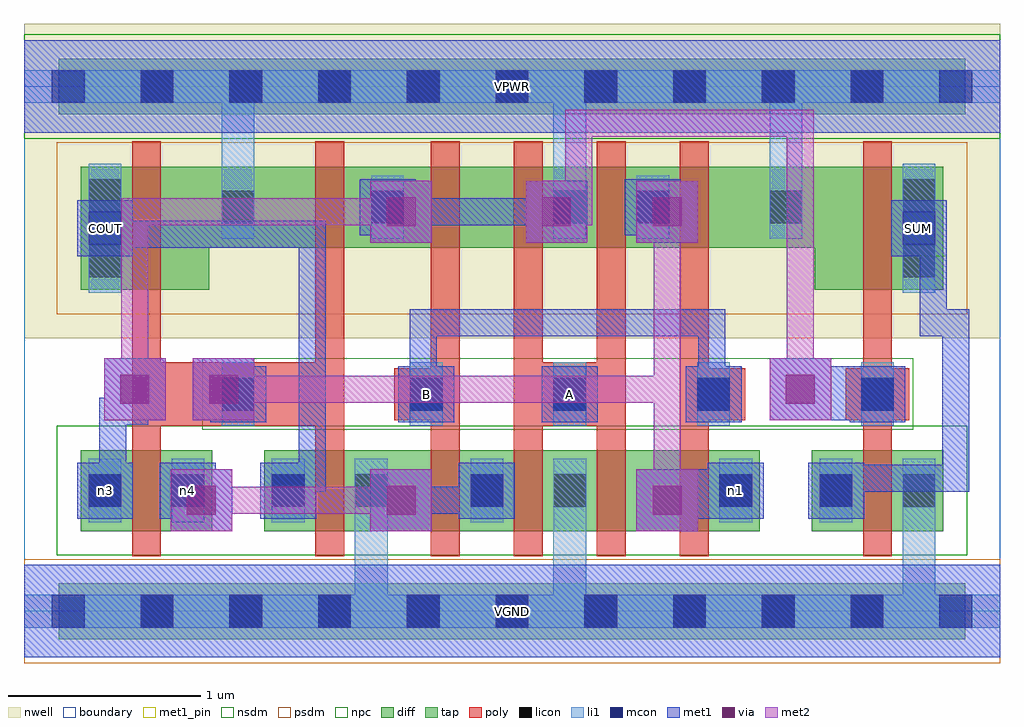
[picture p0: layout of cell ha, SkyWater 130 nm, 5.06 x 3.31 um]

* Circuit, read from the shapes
.subckt ha A B COUT SUM VGND VPWR n1 n3 n4
XM1 n4 n1 n3 VGND sky130_fd_pr__nfet_01v8 w=0.42 l=0.15
XM2 VGND n1 COUT VGND sky130_fd_pr__nfet_01v8 w=0.42 l=0.15
XM3 n4 B VGND VGND sky130_fd_pr__nfet_01v8 w=0.42 l=0.15
XM4 VGND A n4 VGND sky130_fd_pr__nfet_01v8 w=0.42 l=0.15
XM5 n2 A VGND VGND sky130_fd_pr__nfet_01v8 w=0.42 l=0.15
XM6 n1 B n2 VGND sky130_fd_pr__nfet_01v8 w=0.42 l=0.15
XM7 VGND n3 SUM VGND sky130_fd_pr__nfet_01v8 w=0.42 l=0.15
XM8 VPWR n1 COUT VPWR sky130_fd_pr__pfet_01v8 w=0.64 l=0.15
XM9 n3 n1 VPWR VPWR sky130_fd_pr__pfet_01v8 w=0.42 l=0.15
XM10 n5 B n3 VPWR sky130_fd_pr__pfet_01v8 w=0.42 l=0.15
XM11 VPWR A n5 VPWR sky130_fd_pr__pfet_01v8 w=0.42 l=0.15
XM12 n1 A VPWR VPWR sky130_fd_pr__pfet_01v8 w=0.42 l=0.15
XM13 VPWR B n1 VPWR sky130_fd_pr__pfet_01v8 w=0.42 l=0.15
XM14 SUM n3 VPWR VPWR sky130_fd_pr__pfet_01v8 w=0.64 l=0.15
.ends

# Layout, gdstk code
import gdstk
lib = gdstk.Library(unit=1e-6, precision=1e-09)
def R(c, l, rs):  # rectangles x0, y0, x1, y1
    for r in rs: c.add(gdstk.rectangle(r[:2], r[2:], *l))
def A(c, l, x, y, w, h, nx, ny, dx, dy):  # array of equal rectangles
    R(c, l, [(x+i*dx, y+j*dy, x+i*dx+w, y+j*dy+h) for i in range(nx) for j in range(ny)])
nwell = (64, 20)
diff = (65, 20)
tap = (65, 44)
poly = (66, 20)
licon = (66, 44)
li1 = (67, 20)
mcon = (67, 44)
met1_pin = (68, 16)
met1 = (68, 20)
via = (68, 44)
met2 = (69, 20)
nsdm = (93, 44)
psdm = (94, 20)
npc = (95, 20)
boundary = (235, 4)

c_ha = lib.new_cell('ha')
R(c_ha, nwell, [(0,1.415,5.06,3.045)])
R(c_ha, diff, [(0.295,0.415,0.975,0.835), (1.245,0.415,3.815,0.835), (1.245,0.415,1.96,0.835), (4.085,0.415,4.765,0.835), (0.295,1.665,0.96,2.305), (4.1,1.665,4.765,2.305), (0.295,1.885,4.765,2.305)])
R(c_ha, tap, [(0.18,-0.145,4.88,0.145), (0.18,2.575,4.88,2.865)])
A(c_ha, poly, 2.11, 0.285, 0.15, 2.15, 4, 1, 0.43, 0)
R(c_ha, poly, [(0.56,0.285,0.71,2.435), (1.51,0.285,1.66,2.435), (4.35,0.285,4.5,2.435), (0.56,0.96,1.66,1.29), (2.54,0.96,3.12,1.29), (1.92,0.99,2.25,1.26), (3.41,0.99,3.74,1.26), (4.26,0.99,4.59,1.26)])
A(c_ha, licon, 0.605, -0.085, 0.17, 0.17, 9, 2, 0.46, 2.72)
A(c_ha, licon, 2, 1.04, 0.17, 0.17, 3, 1, 0.745, 0)
R(c_ha, licon, [(0.335,0.54,0.505,0.71), (0.765,0.54,0.935,0.71), (1.285,0.54,1.455,0.71), (1.715,0.54,1.885,0.71), (2.315,0.54,2.485,0.71), (2.745,0.54,2.915,0.71), (3.605,0.54,3.775,0.71), (4.125,0.54,4.295,0.71), (4.555,0.54,4.725,0.71), (1.025,1.04,1.195,1.21), (4.34,1.04,4.51,1.21), (0.335,1.73,0.505,1.9), (4.555,1.73,4.725,1.9), (1.025,2.01,1.195,2.18), (1.8,2.01,1.97,2.18), (2.745,2.01,2.915,2.18), (3.175,2.01,3.345,2.18), (3.865,2.01,4.035,2.18), (0.335,2.07,0.505,2.24), (4.555,2.07,4.725,2.24)])
A(c_ha, li1, 2, 0.96, 0.17, 0.33, 3, 1, 0.745, 0)
R(c_ha, li1, [(0,-0.085,5.06,0.085), (1.715,-0.085,1.885,0.79), (2.745,-0.085,2.915,0.79), (4.555,-0.085,4.725,0.79), (0.335,0.46,0.505,0.79), (0.765,0.46,0.935,0.79), (1.285,0.46,1.455,0.79), (1.715,0.46,1.885,0.79), (2.315,0.46,2.485,0.79), (2.745,0.46,2.915,0.79), (3.605,0.46,3.775,0.79), (4.125,0.46,4.295,0.79), (4.555,0.46,4.725,0.79), (1.025,0.96,1.195,1.29), (4.34,0.96,4.51,1.29), (0.335,1.65,0.505,2.32), (4.555,1.65,4.725,2.32), (1.025,1.93,1.195,2.26), (1.025,1.93,1.195,2.805), (1.8,1.93,1.97,2.26), (2.745,1.93,2.915,2.26), (2.745,1.93,2.915,2.805), (3.175,1.93,3.345,2.26), (3.865,1.93,4.035,2.26), (3.865,1.93,4.035,2.805), (0,2.635,5.06,2.805)])
A(c_ha, mcon, 0.145, -0.085, 0.17, 0.17, 11, 2, 0.46, 2.72)
A(c_ha, mcon, 2, 1.04, 0.17, 0.17, 3, 1, 0.745, 0)
R(c_ha, mcon, [(0.335,0.54,0.505,0.71), (0.765,0.54,0.935,0.71), (1.285,0.54,1.455,0.71), (2.315,0.54,2.485,0.71), (3.605,0.54,3.775,0.71), (4.125,0.54,4.295,0.71), (1.025,1.04,1.195,1.21), (4.34,1.04,4.51,1.21), (0.335,1.9,0.505,2.07), (4.555,1.9,4.725,2.07), (1.8,2.01,1.97,2.18), (3.175,2.01,3.345,2.18)])
R(c_ha, met1_pin, [(0,-0.24,5.06,0.24), (1.94,0.98,2.23,1.27), (2.685,0.98,2.975,1.27), (0.275,1.84,0.565,2.13), (4.495,1.84,4.785,2.13), (0,2.48,5.06,2.96)])
A(c_ha, met1, 1.94, 0.98, 0.29, 0.29, 3, 1, 0.745, 0)
R(c_ha, met1, [(0,-0.24,5.06,0.24), (0.76,0.415,1.08,0.735), (1.795,0.415,2.115,0.735), (3.175,0.415,3.495,0.735), (0.275,0.48,0.565,0.77), (0.705,0.48,0.995,0.77), (1.225,0.48,1.515,0.77), (2.255,0.48,2.545,0.77), (3.495,0.48,3.545,0.735), (3.545,0.48,3.835,0.77), (4.065,0.48,4.355,0.77), (0.85,0.505,0.99,0.645), (1.885,0.505,2.485,0.645), (2.345,0.505,2.485,0.645), (3.265,0.505,3.75,0.645), (3.61,0.505,3.75,0.645), (0.39,0.62,0.53,0.76), (0.39,0.62,0.53,1.105), (1.31,0.62,1.45,0.76), (1.31,0.62,1.565,0.76), (1.425,0.62,1.565,2.025), (4.185,0.62,4.325,0.76), (4.185,0.62,4.9,0.76), (4.76,0.62,4.9,1.565), (0.39,0.965,0.645,1.105), (0.505,0.965,0.645,1.22), (0.965,0.98,1.255,1.27), (4.28,0.98,4.57,1.27), (0.415,0.99,0.735,1.31), (0.875,0.99,1.195,1.31), (3.865,0.99,4.185,1.31), (4.185,0.99,4.28,1.27), (0.965,1.08,1.105,1.22), (2,1.08,2.14,1.22), (2,1.08,2.14,1.565), (3.495,1.08,3.635,1.22), (3.495,1.08,3.635,1.565), (3.955,1.08,4.44,1.22), (4.3,1.08,4.44,1.22), (2,1.425,3.635,1.565), (4.645,1.425,4.9,1.565), (4.645,1.425,4.785,2.025), (0.275,1.84,0.565,2.13), (4.495,1.84,4.785,2.13), (0.39,1.885,0.53,2.025), (0.39,1.885,1.565,2.025), (4.645,1.885,4.785,2.025), (1.795,1.91,2.115,2.23), (2.6,1.91,2.92,2.23), (3.175,1.91,3.495,2.23), (1.74,1.95,2.03,2.24), (3.115,1.95,3.405,2.24), (1.885,2,2.025,2.14), (1.885,2,2.83,2.14), (3.265,2,3.405,2.14), (0,2.48,5.06,2.96)])
R(c_ha, via, [(0.845,0.5,0.995,0.65), (1.88,0.5,2.03,0.65), (3.26,0.5,3.41,0.65), (0.5,1.075,0.65,1.225), (0.96,1.075,1.11,1.225), (3.95,1.075,4.1,1.225), (1.88,1.995,2.03,2.145), (2.685,1.995,2.835,2.145), (3.26,1.995,3.41,2.145)])
R(c_ha, met2, [(0.76,0.415,1.08,0.735), (1.795,0.415,2.115,0.735), (3.175,0.415,3.495,0.735), (0.85,0.505,2.025,0.645), (3.265,0.505,3.405,2.14), (0.415,0.99,0.735,1.31), (0.875,0.99,1.195,1.31), (3.865,0.99,4.185,1.31), (0.505,1.08,0.645,2.14), (0.965,1.08,3.405,1.22), (3.955,1.08,4.095,2.6), (1.795,1.91,2.115,2.23), (2.6,1.91,2.92,2.23), (3.175,1.91,3.495,2.23), (0.505,2,2.025,2.14), (2.69,2,2.945,2.14), (2.805,2,2.945,2.6), (2.805,2.46,4.095,2.6)])
R(c_ha, nsdm, [(0.17,0.29,4.89,0.96), (0,2.45,5.06,2.99)])
R(c_ha, psdm, [(0,-0.27,5.06,0.27), (0.17,1.54,4.89,2.43)])
R(c_ha, npc, [(0.925,0.94,4.61,1.31)])
R(c_ha, boundary, [(0,0,5.06,2.72)])
c_ha.add(gdstk.Label('n3', (0.42,0.625), layer=67, texttype=5))
c_ha.add(gdstk.Label('n4', (0.85,0.625), layer=67, texttype=5))
c_ha.add(gdstk.Label('n1', (3.69,0.625), layer=67, texttype=5))
c_ha.add(gdstk.Label('A', (2.83,1.125), layer=68, texttype=5))
c_ha.add(gdstk.Label('B', (2.085,1.125), layer=68, texttype=5))
c_ha.add(gdstk.Label('COUT', (0.42,1.985), layer=68, texttype=5))
c_ha.add(gdstk.Label('SUM', (4.64,1.985), layer=68, texttype=5))
c_ha.add(gdstk.Label('VPWR', (2.53,2.72), layer=68, texttype=5))
c_ha.add(gdstk.Label('VGND', (2.53,0), layer=68, texttype=5))
c_ha.add(gdstk.Label('A', (2.83,1.125), layer=68, texttype=16))
c_ha.add(gdstk.Label('B', (2.085,1.125), layer=68, texttype=16))
c_ha.add(gdstk.Label('COUT', (0.42,1.985), layer=68, texttype=16))
c_ha.add(gdstk.Label('SUM', (4.64,1.985), layer=68, texttype=16))
c_ha.add(gdstk.Label('VPWR', (2.53,2.72), layer=68, texttype=16))
c_ha.add(gdstk.Label('VGND', (2.53,0), layer=68, texttype=16))

lib.write_gds('ha.gds')
